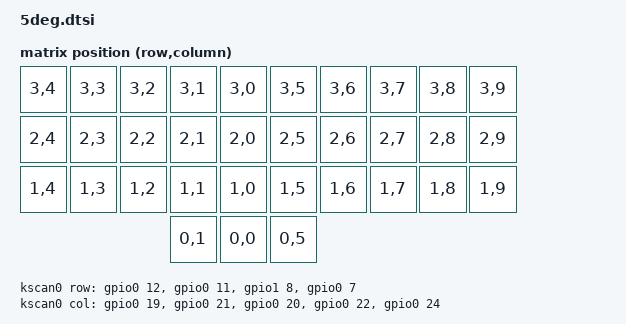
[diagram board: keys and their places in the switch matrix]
/*
 * 5deg split keyboard — shared devicetree
 *
 * Left:  17 keys (3x5 matrix + 2 thumbs)
 * Right: 16 keys (3x5 matrix + 1 thumb)
 *
 * Matrix wiring (from plan-b KiCad):
 *   Columns inside→out: COL0=P0.19, COL1=P0.21, COL2=P0.20, COL3=P0.22, COL4=P0.24
 *   Rows bottom→up:     ROW0=P0.12 (thumbs), ROW1=P0.11 (lower), ROW2=P1.08 (middle), ROW3=P0.07 (top)
 *
 * Peripherals (same wiring both halves):
 *   SPI0: LCD display (SCK=P0.17, MOSI=P0.15, CS=P0.13) — shared instance with I2C0, so I2C0 is disabled
 *   SPI2: RGB LEDs    (MOSI=P0.02, SCK=P0.26 dummy)
 *   EXT_POWER:        P1.07 (RGB power gate)
 */

#include <dt-bindings/zmk/matrix_transform.h>
#include <dt-bindings/led/led.h>
#include <dt-bindings/zmk/input_transform.h>
#include <input/processors.dtsi>
#include <input/processors/accel.dtsi>
#include <input/processors/smooth.dtsi>

/ {
    chosen {
        zmk,kscan = &kscan0;
        zmk,matrix-transform = &default_transform;
    };

    /* --- Split input bridge for trackball on peripheral --- */

    splits {
        #address-cells = <1>;
        #size-cells = <0>;
        split_input: split_input@0 {
            compatible = "zmk,input-split";
            reg = <0>;
        };
    };

    temp_layer: temp_layer {
        compatible = "zmk,input-processor-temp-layer";
        #input-processor-cells = <2>;
        require-prior-idle-ms = <800>;
        excluded-positions = <7 16 18>;
    };

    trackball_listener: trackball_listener {
        compatible = "zmk,input-listener";
        device = <&split_input>;
    };

    /*
     * LEFT (pinky → inner)         RIGHT (inner → pinky)
     * ┌────┬────┬────┬────┬────┐   ┌────┬────┬────┬────┬────┐
     * │ 0  │ 1  │ 2  │ 3  │ 4  │   │ 5  │ 6  │ 7  │ 8  │ 9  │  ← ROW3
     * ├────┼────┼────┼────┼────┤   ├────┼────┼────┼────┼────┤
     * │ 10 │ 11 │ 12 │ 13 │ 14 │   │ 15 │ 16 │ 17 │ 18 │ 19 │  ← ROW2
     * ├────┼────┼────┼────┼────┤   ├────┼────┼────┼────┼────┤
     * │ 20 │ 21 │ 22 │ 23 │ 24 │   │ 25 │ 26 │ 27 │ 28 │ 29 │  ← ROW1
     * └────┴────┴──┬─┴──┬─┴────┘   └────┴─┬──┴────┴────┴────┘
     *              │ 30 │ 31 │       │ 32 │                      ← ROW0
     *              └────┴────┘       └────┘
     */
    default_transform: keymap_transform_0 {
        compatible = "zmk,matrix-transform";
        columns = <10>;
        rows = <4>;
        map = <
            RC(3,4) RC(3,3) RC(3,2) RC(3,1) RC(3,0)    RC(3,5) RC(3,6) RC(3,7) RC(3,8) RC(3,9)
            RC(2,4) RC(2,3) RC(2,2) RC(2,1) RC(2,0)    RC(2,5) RC(2,6) RC(2,7) RC(2,8) RC(2,9)
            RC(1,4) RC(1,3) RC(1,2) RC(1,1) RC(1,0)    RC(1,5) RC(1,6) RC(1,7) RC(1,8) RC(1,9)
                                    RC(0,1) RC(0,0)    RC(0,5)
        >;
    };

    kscan0: kscan_0 {
        compatible = "zmk,kscan-gpio-matrix";
        wakeup-source;
        diode-direction = "col2row";

        row-gpios
            = <&gpio0 12 (GPIO_ACTIVE_HIGH | GPIO_PULL_DOWN)>  /* ROW0 — thumbs  */
            , <&gpio0 11 (GPIO_ACTIVE_HIGH | GPIO_PULL_DOWN)>  /* ROW1 — lower   */
            , <&gpio1 8  (GPIO_ACTIVE_HIGH | GPIO_PULL_DOWN)>  /* ROW2 — middle  */
            , <&gpio0 7  (GPIO_ACTIVE_HIGH | GPIO_PULL_DOWN)>  /* ROW3 — top     */
            ;

        col-gpios
            = <&gpio0 19 GPIO_ACTIVE_HIGH>  /* COL0 — inner  */
            , <&gpio0 21 GPIO_ACTIVE_HIGH>  /* COL1          */
            , <&gpio0 20 GPIO_ACTIVE_HIGH>  /* COL2          */
            , <&gpio0 22 GPIO_ACTIVE_HIGH>  /* COL3          */
            , <&gpio0 24 GPIO_ACTIVE_HIGH>  /* COL4 — outer  */
            ;
    };

    /* Override nice_nano's EXT_POWER with our RGB power gate pin */
    EXT_POWER {
        control-gpios = <&gpio1 7 GPIO_ACTIVE_HIGH>;
    };
};

/* --- Pinctrl: SPI2 = LCD (proven working), SPI0 = RGB --- */

&pinctrl {
    /* LCD on SPI2 (SCK=P0.17, MOSI=P0.15) */
    spi2_default: spi2_default {
        group1 {
            psels = <NRF_PSEL(SPIM_SCK,  0, 17)>,
                    <NRF_PSEL(SPIM_MOSI, 0, 15)>;
        };
    };

    spi2_sleep: spi2_sleep {
        group1 {
            psels = <NRF_PSEL(SPIM_SCK,  0, 17)>,
                    <NRF_PSEL(SPIM_MOSI, 0, 15)>;
            low-power-enable;
        };
    };

    /* RGB on SPI0 (MOSI=P0.02, SCK=P0.26 dummy) */
    spi0_default: spi0_default {
        group1 {
            psels = <NRF_PSEL(SPIM_MOSI, 0, 2)>,
                    <NRF_PSEL(SPIM_SCK,  0, 26)>;
        };
    };

    spi0_sleep: spi0_sleep {
        group1 {
            psels = <NRF_PSEL(SPIM_MOSI, 0, 2)>,
                    <NRF_PSEL(SPIM_SCK,  0, 26)>;
            low-power-enable;
        };
    };
};

/* Disable I2C0 — shares peripheral with SPI0 */
&pro_micro_i2c {
    status = "disabled";
};

/* --- LCD display on SPI2 (nice_view shield adds the ls0xx device) --- */

nice_view_spi: &spi2 {
    status = "okay";
    compatible = "nordic,nrf-spim";
    pinctrl-0 = <&spi2_default>;
    pinctrl-1 = <&spi2_sleep>;
    pinctrl-names = "default", "sleep";
    cs-gpios = <&gpio0 13 GPIO_ACTIVE_HIGH>;
};

/* --- RGB underglow on SPI0 (chain-length set per-side in overlays) --- */

&spi0 {
    status = "okay";
    compatible = "nordic,nrf-spim";
    pinctrl-0 = <&spi0_default>;
    pinctrl-1 = <&spi0_sleep>;
    pinctrl-names = "default", "sleep";
};
